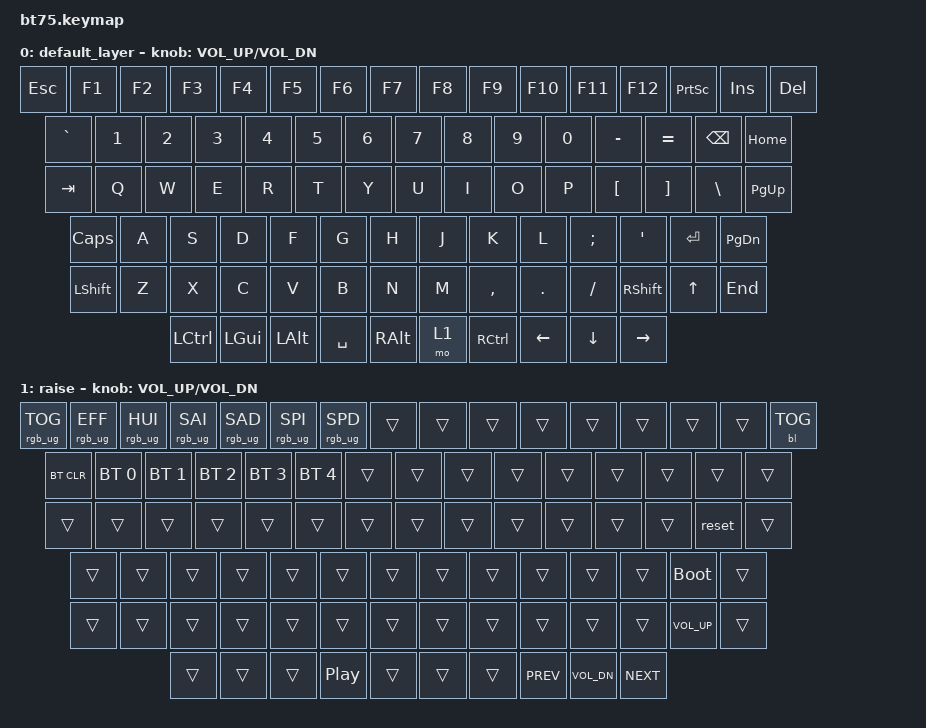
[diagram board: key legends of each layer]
#include <behaviors.dtsi>
#include <dt-bindings/zmk/keys.h>
#include <dt-bindings/zmk/bt.h>
#include <dt-bindings/zmk/rgb.h>
#include <dt-bindings/zmk/backlight.h>
#include <dt-bindings/zmk/ext_power.h>


/ {
	keymap {
		compatible = "zmk,keymap";
		default_layer {
				// ------------------------------------------------------------------------------------------------------------
				// | ESC | F1  | F2  | F3  | F4  | F5  | F6  | F7  | F9  | F9  | F10 | F11 | F12 | PSCRN | INS | DEL	|
				// |  `  |  1  |  2  |  3  |  4  |  5  |  6  |  7  |  8  |  9  |  0  |  -  |  =  |   BKSP   | HOME	|
				// | TAB  |  Q  |  W  |  E  |  R  |  T  |  Y  |  U  |  I  |  O  |  P  |  [  |  ]  |    \    | PG UP |
				// | CAPS  |  A  |  S  |  D  |  F  |  G  |  H  |  J  |  K  |  L  |  ;  |  '  |     ENTER     | PG DN |
				// |  SHIFT    |  Z  |  X  |  C  |  V  |  B  |  N  |  M  |  ,  |  .  | /   |    SHIFT |  UP  |  END  |
				// |  CTL  |  WIN  |  ALT  |            SPACE               | ALT | 1  | CTRL |  LEFT | DOWN | RIGHT |
				// ------------------------------------------------------------------------------------------------------------
			bindings = <
				&kp ESC &kp F1 &kp F2 &kp F3 &kp F4 &kp F5 &kp F6 &kp F7 &kp  F8   &kp  F9 &kp  F10  &kp F11 &kp F12   &kp PSCRN &kp INS &kp DEL
				&kp GRAVE &kp N1 &kp N2 &kp N3 &kp N4 &kp N5 &kp N6 &kp N7 &kp  N8   &kp  N9   &kp N0 &kp MINUS &kp EQUAL &kp BKSP &kp HOME
				&kp TAB  &kp Q  &kp W  &kp E  &kp R  &kp T  &kp Y  &kp U  &kp  I    &kp  O  &kp  P   &kp LBKT &kp RBKT  	&kp BSLH &kp PG_UP
				&kp CLCK  &kp A  &kp S  &kp D  &kp F  &kp G  &kp H  &kp J  &kp  K    &kp  L  &kp SEMI &kp SQT           	&kp RET &kp PG_DN
				&kp LSHFT  &kp Z  &kp X  &kp C  &kp V  &kp B  &kp N  &kp M  &kp COMMA &kp DOT &kp FSLH              &kp RSHFT &kp UP &kp END
				&kp LCTRL &kp LGUI &kp LALT            &kp SPACE                          &kp RALT  &mo 1 &kp RCTRL &kp LEFT &kp DOWN &kp RIGHT
			>;
			sensor-bindings = <&inc_dec_kp C_VOL_UP C_VOL_DN>;
		};
		raise {
			bindings = <
				&rgb_ug RGB_TOG &rgb_ug RGB_EFF &rgb_ug RGB_HUI &rgb_ug RGB_SAI &rgb_ug RGB_SAD &rgb_ug RGB_SPI &rgb_ug RGB_SPD &trans &trans &trans &trans &trans &trans &trans &trans &bl BL_TOG
				&bt BT_CLR &bt BT_SEL 0 &bt BT_SEL 1 &bt BT_SEL 2 &bt BT_SEL 3 &bt BT_SEL 4 &trans &trans &trans &trans &trans &trans &trans &trans &trans
				&trans &trans &trans &trans &trans &trans &trans &trans &trans &trans &trans &trans &trans &reset &trans
				&trans    &trans &trans &trans &trans &trans &trans &trans &trans &trans &trans  &trans   &bootloader &trans
				&trans &trans &trans &trans &trans &trans &trans &trans &trans &trans &trans  &trans &kp C_VOL_UP &trans
				&trans &trans  &trans              &kp C_PP                            &trans   &trans  &trans &kp C_PREV &kp C_VOL_DN &kp C_NEXT
			>;
			sensor-bindings = <&inc_dec_kp C_VOL_UP C_VOL_DN>;
		};
	};
};
